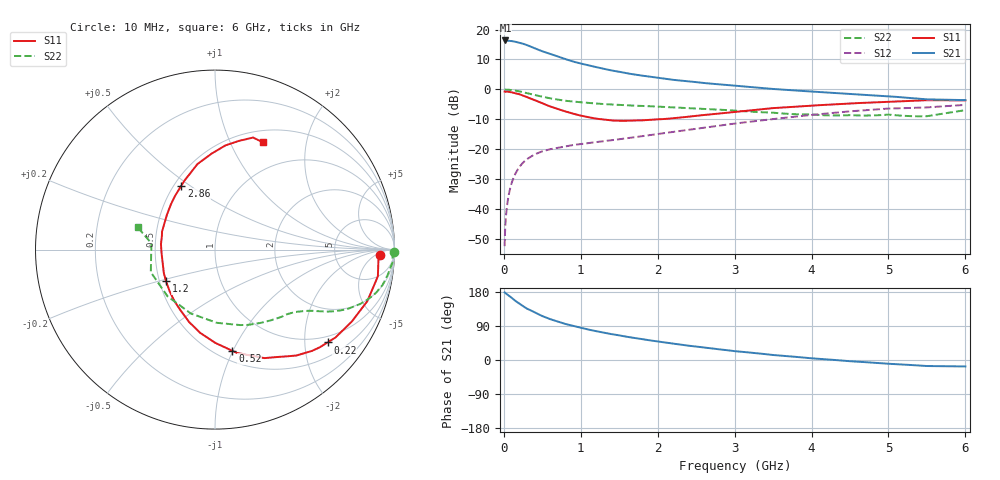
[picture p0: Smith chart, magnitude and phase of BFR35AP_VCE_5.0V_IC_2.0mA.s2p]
! Infineon Technologies  Discrete & RF Semiconductors
! BFR35AP
! VCE =  5.0 V,  IC =  2.0 mA
! Common Emitter S-Parameters:  Nov 2015
# GHz  S  MA  R  50
!  f  S11  S21  S12  S22
! GHz  MAG  ANG  MAG  ANG  MAG  ANG  MAG  ANG
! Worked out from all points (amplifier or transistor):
!   210 points, 10 MHz to 6 GHz, reference 50 ohm
!   highest |S21| = 16.3 dB at 20 MHz (marker M1)
!   |S21| within 3 dB of that: start of sweep to 439.2 MHz
!   unconditionally stable (mu >= 1): 1.191 GHz to 3.494 GHz
!   at 185 MHz: K = 0.21, MSG = 21.1 dB, |S12| = -26.6 dB
!   at 1.52 GHz: K = 1.12, MAG = 9.1 dB, |S12| = -16.6 dB
!   at 6 GHz: K = 0.97, MSG = 0.8 dB, |S12| = -5.2 dB
!   S11 on the Smith chart (normalised r, x): 10 MHz: 21, -8; 220 MHz: 0.83, -2.55; 520 MHz: 0.59, -1.00; 1.2 GHz: 0.54, -0.21; 2.86 GHz: 0.55, +0.46; 6 GHz: 0.64, +1.33
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0.01  0.9209 -1.9  6.557 178.5  0.0024 86.7  0.9977 -0.7
0.02  0.9124 -3.8  6.569 176.6  0.0055 87.4  0.9894 -1.6
0.045  0.9178 -8.4  6.513 172.8  0.0122 84.8  0.9911 -3.7
0.085  0.9005 -15.8  6.441 166.7  0.023 80.0  0.9791 -6.8
0.1  0.896 -18.7  6.43 164.4  0.027 79.0  0.9744 -8.0
0.15  0.8615 -27.7  6.249 155.9  0.039 74.1  0.9544 -11.9
0.22  0.8131 -39.5  5.918 146.3  0.054 67.8  0.9155 -16.2
0.26  0.7812 -46.3  5.74 140.8  0.0615 64.4  0.8894 -18.5
0.3  0.7439 -52.5  5.508 135.6  0.0682 61.9  0.8632 -20.6
0.4  0.6644 -65.5  4.881 125.7  0.0819 56.2  0.8055 -24.4
0.52  0.5725 -80.2  4.246 114.4  0.0938 51.5  0.7448 -27.5
0.62  0.509 -91.7  3.85 106.7  0.101 49.1  0.7023 -29.5
0.78  0.436 -107.6  3.274 96.4  0.1104 46.7  0.6513 -31.6
1.02  0.3599 -130.1  2.667 83.9  0.1232 45.2  0.6058 -34.4
1.2  0.325 -147.0  2.357 76.0  0.1314 45.6  0.5801 -36.5
1.6  0.2991 -179.2  1.857 61.2  0.1525 47.5  0.5407 -41.6
2.02  0.3162 154.1  1.555 48.4  0.1811 48.9  0.5139 -48.4
2.86  0.4021 117.9  1.197 26.8  0.254 47.8  0.4544 -67.4
3.1  0.4318 111.1  1.124 21.6  0.2782 46.2  0.4335 -74.7
4.1  0.5444 90.3  0.903 3.1  0.3848 36.6  0.373 -115.5
5.1  0.6273 76.3  0.75 -11.0  0.4817 22.0  0.3691 -165.3
6  0.6544 66.0  0.662 -17.0  0.5512 10.6  0.4493 163.8
